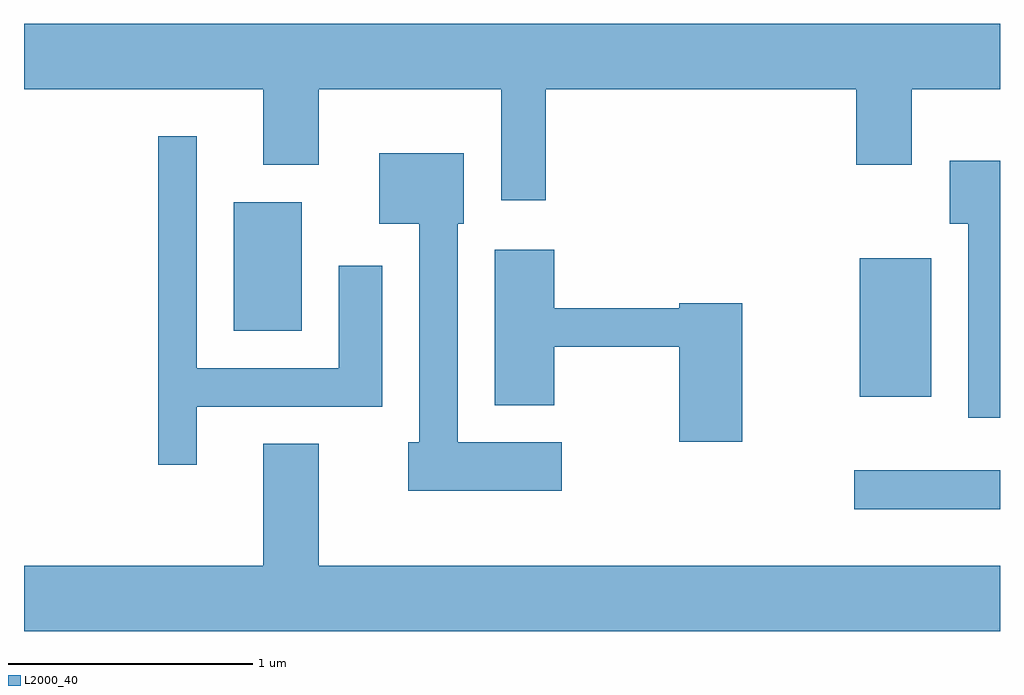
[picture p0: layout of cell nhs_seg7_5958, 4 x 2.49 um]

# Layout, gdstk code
import gdstk
lib = gdstk.Library(unit=1e-6, precision=1e-09)
def R(c, l, rs):  # rectangles x0, y0, x1, y1
    for r in rs: c.add(gdstk.rectangle(r[:2], r[2:], *l))
def P(c, l, *ps):  # polygons
    for p in ps: c.add(gdstk.Polygon(p, *l))
L2000_40 = (2000, 40)

nhs_seg7_5958 = lib.new_cell('nhs_seg7_5958')
R(nhs_seg7_5958, L2000_40, [(371.013,1697.056,371.611,1697.214), (371.036,1697.516,371.329,1698.084), (368.471,1697.786,368.749,1698.314)])
P(nhs_seg7_5958, L2000_40, [(367.611,1698.776),(368.591,1698.776),(368.591,1698.466),(368.819,1698.466),(368.819,1698.776),(369.566,1698.776),(369.566,1698.321),(369.749,1698.321),(369.749,1698.776),(371.021,1698.776),(371.021,1698.466),(371.249,1698.466),(371.249,1698.776),(371.611,1698.776),(371.611,1699.044),(367.611,1699.044)],
  [(368.319,1697.476),(369.079,1697.476),(369.079,1698.054),(368.901,1698.054),(368.901,1697.634),(368.319,1697.634),(368.319,1698.583),(368.161,1698.583),(368.161,1697.238),(368.319,1697.238)],
  [(369.814,1697.329),(369.389,1697.329),(369.389,1698.226),(369.414,1698.226),(369.414,1698.514),(369.066,1698.514),(369.066,1698.226),(369.231,1698.226),(369.231,1697.329),(369.186,1697.329),(369.186,1697.131),(369.814,1697.131)],
  [(371.611,1698.484),(371.406,1698.484),(371.406,1698.226),(371.481,1698.226),(371.481,1697.431),(371.611,1697.431)],
  [(370.554,1697.899),(370.296,1697.899),(370.296,1697.879),(369.784,1697.879),(369.784,1698.119),(369.541,1698.119),(369.541,1697.481),(369.784,1697.481),(369.784,1697.721),(370.296,1697.721),(370.296,1697.331),(370.554,1697.331)],
  [(371.611,1696.824),(368.819,1696.824),(368.819,1697.324),(368.591,1697.324),(368.591,1696.824),(367.611,1696.824),(367.611,1696.556),(371.611,1696.556)])

lib.write_gds('nhs_seg7_5958.gds')
